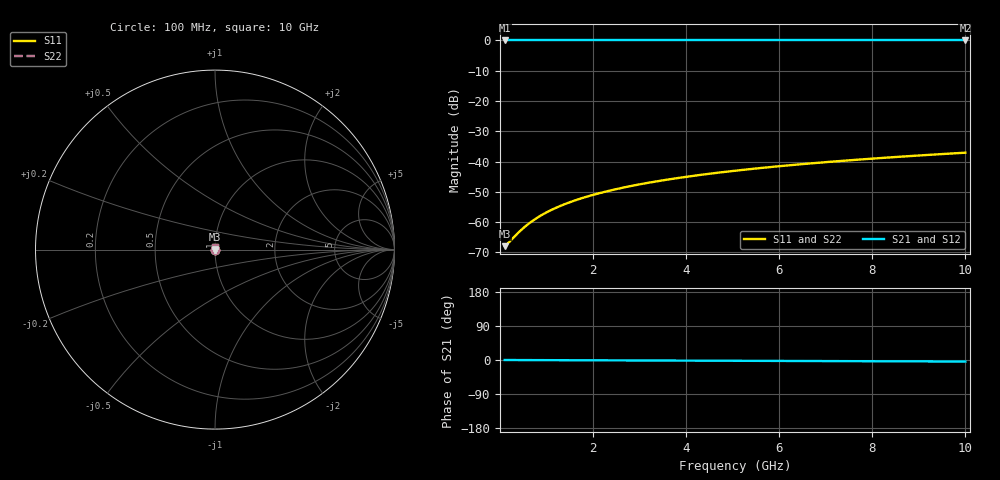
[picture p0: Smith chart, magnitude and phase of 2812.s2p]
# Hz S RI R 50.00
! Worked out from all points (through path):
!   100 points, 100 MHz to 10 GHz, reference 50 ohm
!   highest |S21| = 0.00 dB at 100 MHz (marker M1); lowest = 0.0 dB at 10 GHz (marker M2)
!   lowest |S11| = -68.0 dB at 100 MHz (marker M3), VSWR 1.00, Z = 50 + j0.0139 ohm
!   |S11| at or under -10 dB: start of sweep to end of sweep
!   |S22| runs from -68.0 to -37.1 dB; largest |S21 - S12| = 0
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1e8  0.000375 0.000139  0.9996 -0.00071  0.9996 -0.00071  0.000375 0.000139
2e8  0.000378 0.000278  0.9996 -0.00142  0.9996 -0.00142  0.000378 0.000278
4e8  0.000382 0.000556  0.9996 -0.00284  0.9996 -0.00284  0.000382 0.000556
5e8  0.000384 0.000695  0.9996 -0.00355  0.9996 -0.00355  0.000384 0.000695
6e8  0.000386 0.000834  0.9996 -0.00426  0.9996 -0.00426  0.000386 0.000834
7e8  0.000388 0.000973  0.9996 -0.00497  0.9996 -0.00497  0.000388 0.000973
8e8  0.00039 0.00111  0.9996 -0.00568  0.9996 -0.00568  0.00039 0.00111
1e9  0.000395 0.00139  0.9996 -0.0071  0.9996 -0.0071  0.000395 0.00139
1.2e9  0.0004 0.00167  0.9996 -0.00852  0.9996 -0.00852  0.0004 0.00167
1.5e9  0.000409 0.00209  0.9995 -0.0107  0.9995 -0.0107  0.000409 0.00209
1.8e9  0.00042 0.0025  0.9995 -0.0128  0.9995 -0.0128  0.00042 0.0025
2.1e9  0.000432 0.00292  0.9995 -0.0149  0.9995 -0.0149  0.000432 0.00292
2.5e9  0.000452 0.00347  0.9994 -0.0178  0.9994 -0.0178  0.000452 0.00347
2.9e9  0.000474 0.00403  0.9994 -0.0206  0.9994 -0.0206  0.000474 0.00403
3.4e9  0.000506 0.00472  0.9993 -0.0242  0.9993 -0.0242  0.000506 0.00472
4.2e9  0.000568 0.00583  0.9991 -0.0299  0.9991 -0.0299  0.000568 0.00583
5.1e9  0.000652 0.00708  0.9989 -0.0363  0.9989 -0.0363  0.000652 0.00708
5.9e9  0.000741 0.0082  0.9987 -0.042  0.9987 -0.042  0.000741 0.0082
6.7e9  0.000843 0.00931  0.9984 -0.0477  0.9984 -0.0477  0.000843 0.00931
7.5e9  0.000957 0.0104  0.9981 -0.0535  0.9981 -0.0535  0.000957 0.0104
8.4e9  0.0011 0.0117  0.9977 -0.0599  0.9977 -0.0599  0.0011 0.0117
1e10  0.0014 0.0139  0.9969 -0.0714  0.9969 -0.0714  0.0014 0.0139
